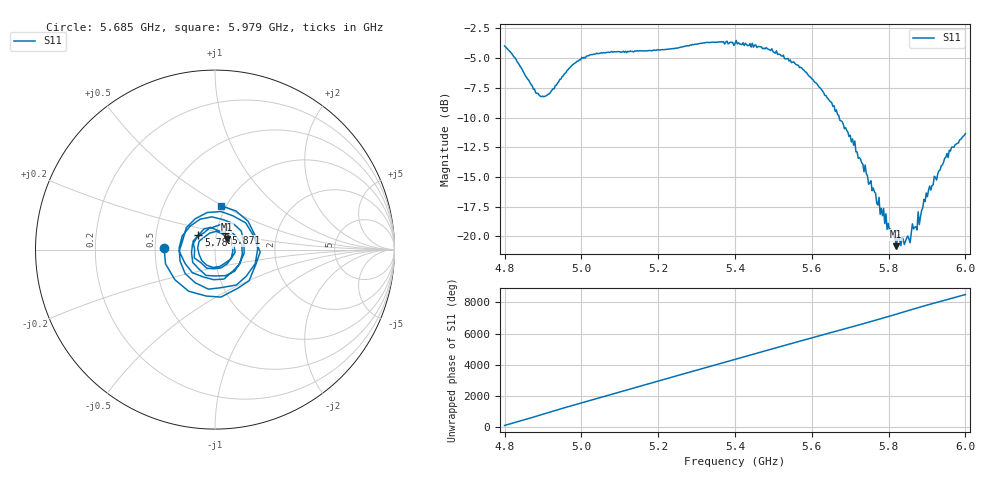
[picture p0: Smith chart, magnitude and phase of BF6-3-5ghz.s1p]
! NanoVNA-App
! Date: 2026-06-16 00:34:13
! Start: 4.8GHz Stop: 6GHz Points: 401
! S-Parameter data: F S11
# Hz S RI R 50
!  Frequency  S11_Real  S11_Imag
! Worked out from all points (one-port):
!   401 points, 4.8 GHz to 6 GHz, reference 50 ohm
!   lowest |S11| = -20.8 dB at 5.82 GHz (marker M1), VSWR 1.20, Z = 57 + j6.84 ohm
!   |S11| at or under -10 dB: 5.671 GHz to end of sweep
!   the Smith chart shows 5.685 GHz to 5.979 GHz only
!   S11 on the Smith chart (normalised r, x): 5.685 GHz: 0.56, +0.01; 5.784 GHz: 0.82, +0.13; 5.871 GHz: 1.10, +0.21; 5.979 GHz: 0.95, +0.49
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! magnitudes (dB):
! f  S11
! 4.8 GHz  -4.0
! 4.824 GHz  -4.9
! 4.878 GHz  -7.6
! 4.896 GHz  -8.2
! 4.914 GHz  -8.0
! 4.95 GHz  -6.5
! 4.983 GHz  -5.4
! 5.019 GHz  -4.8
! 5.1 GHz  -4.5
! 5.25 GHz  -4.2
! 5.322 GHz  -3.7
! 5.4 GHz  -3.8
! 5.49 GHz  -4.3
! 5.55 GHz  -5.3
! 5.619 GHz  -7.4
! 5.652 GHz  -8.8
! 5.685 GHz  -10.9
! 5.7 GHz  -11.5
! 5.76 GHz  -15.9
! 5.784 GHz  -18.3
! 5.82 GHz  -20.8
! 5.85 GHz  -20.0
! 5.871 GHz  -19.2
! 5.877 GHz  -17.9
! 5.901 GHz  -16.7
! 5.946 GHz  -13.4
! 5.979 GHz  -12.2
! 6 GHz  -11.3
